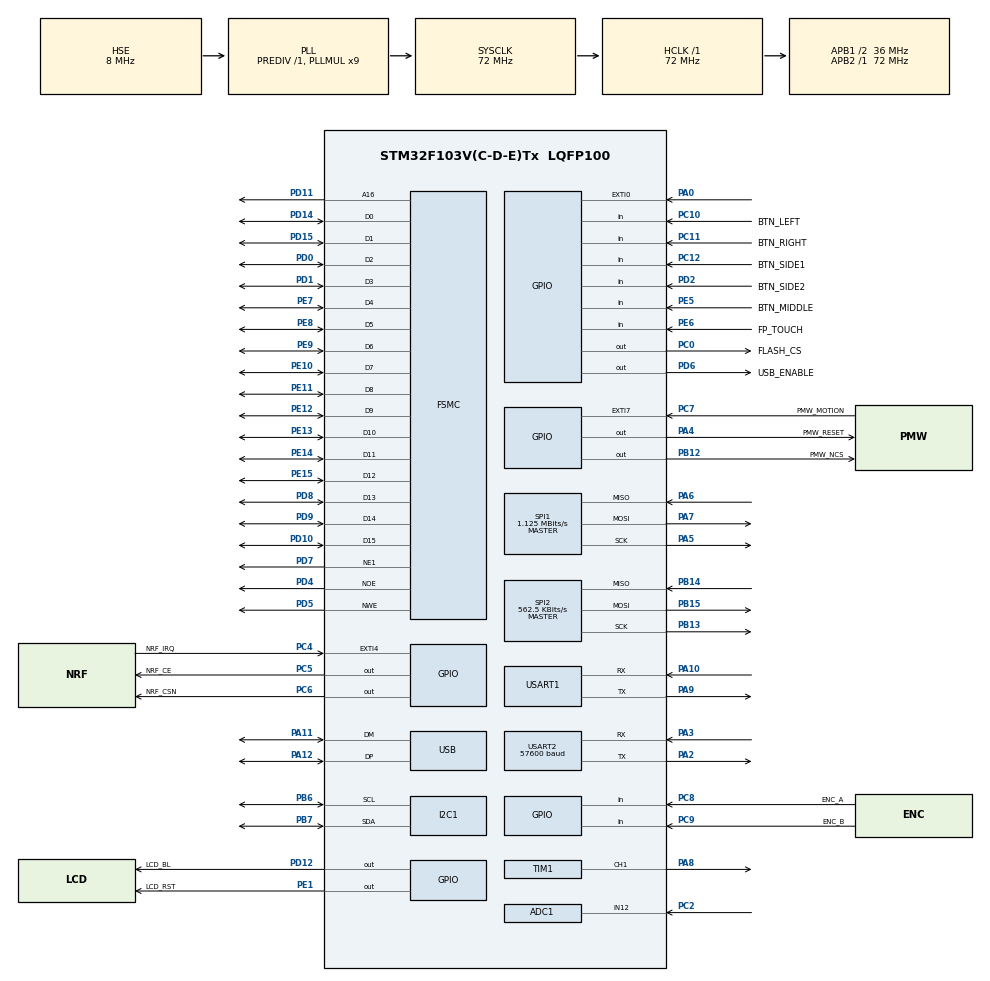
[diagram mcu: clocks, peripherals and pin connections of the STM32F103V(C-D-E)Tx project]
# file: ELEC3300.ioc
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ADC1.Channel-0\#ChannelRegularConversion=ADC_CHANNEL_12
ADC1.NbrOfConversionFlag=1
ADC1.Rank-0\#ChannelRegularConversion=1
ADC1.SamplingTime-0\#ChannelRegularConversion=ADC_SAMPLETIME_239CYCLES_5
ADC1.master=1
Dma.Request0=TIM1_CH1
Dma.TIM1_CH1.0.Direction=DMA_MEMORY_TO_PERIPH
Dma.TIM1_CH1.0.Instance=DMA1_Channel2
Dma.TIM1_CH1.0.MemDataAlignment=DMA_MDATAALIGN_HALFWORD
Dma.TIM1_CH1.0.MemInc=DMA_MINC_ENABLE
Dma.TIM1_CH1.0.Mode=DMA_NORMAL
Dma.TIM1_CH1.0.PeriphDataAlignment=DMA_PDATAALIGN_HALFWORD
Dma.TIM1_CH1.0.PeriphInc=DMA_PINC_DISABLE
Dma.TIM1_CH1.0.Priority=DMA_PRIORITY_HIGH
FREERTOS.Tasks01=defaultTask,16,640,StartDefaultTask,Default,NULL,Dynamic,NULL,NULL
FREERTOS.configTOTAL_HEAP_SIZE=16384
Mcu.Family=STM32F1
Mcu.Name=STM32F103V(C-D-E)Tx
Mcu.Package=LQFP100
NVIC.DMA1_Channel2_IRQn=true\:5\:0\:false\:false\:true\:true\:false\:true\:true
NVIC.EXTI0_IRQn=true\:5\:0\:false\:false\:true\:true\:true\:true\:true
NVIC.EXTI4_IRQn=true\:5\:0\:false\:false\:true\:true\:true\:true\:true
NVIC.EXTI9_5_IRQn=true\:5\:0\:false\:false\:true\:true\:true\:true\:true
NVIC.PriorityGroup=NVIC_PRIORITYGROUP_4
NVIC.TIM4_IRQn=true\:15\:0\:false\:false\:true\:false\:false\:true\:true
NVIC.TimeBase=TIM4_IRQn
NVIC.TimeBaseIP=TIM4
NVIC.USART1_IRQn=true\:5\:0\:false\:false\:true\:true\:true\:true\:true
NVIC.USART2_IRQn=true\:5\:0\:false\:false\:true\:true\:true\:true\:true
NVIC.USB_LP_CAN1_RX0_IRQn=true\:5\:0\:false\:false\:true\:false\:true\:true\:true
OSC_IN.Mode=HSE-External-Oscillator
OSC_IN.Signal=RCC_OSC_IN
OSC_OUT.Mode=HSE-External-Oscillator
OSC_OUT.Signal=RCC_OSC_OUT
PA0-WKUP.Signal=GPXTI0
PA10.Mode=Asynchronous
PA10.Signal=USART1_RX
PA11.Mode=Device
PA11.Signal=USB_DM
PA12.Mode=Device
PA12.Signal=USB_DP
PA13.Mode=Serial_Wire
PA13.Signal=SYS_JTMS-SWDIO
PA14.Mode=Serial_Wire
PA14.Signal=SYS_JTCK-SWCLK
PA2.Mode=Asynchronous
PA2.Signal=USART2_TX
PA3.Mode=Asynchronous
PA3.Signal=USART2_RX
PA4.GPIO_Label=PMW_RESET
PA4.PinState=GPIO_PIN_SET
PA4.Signal=GPIO_Output
PA5.Mode=Full_Duplex_Master
PA5.Signal=SPI1_SCK
PA6.Mode=Full_Duplex_Master
PA6.Signal=SPI1_MISO
PA7.Mode=Full_Duplex_Master
PA7.Signal=SPI1_MOSI
PA8.GPIO_Speed=GPIO_SPEED_FREQ_HIGH
PA8.Signal=S_TIM1_CH1
PA9.Mode=Asynchronous
PA9.Signal=USART1_TX
PB12.GPIO_Label=PMW_NCS
PB12.PinState=GPIO_PIN_SET
PB12.Signal=GPIO_Output
PB13.Mode=Full_Duplex_Master
PB13.Signal=SPI2_SCK
PB14.Mode=Full_Duplex_Master
PB14.Signal=SPI2_MISO
PB15.Mode=Full_Duplex_Master
PB15.Signal=SPI2_MOSI
PB6.Mode=I2C
PB6.Signal=I2C1_SCL
PB7.Mode=I2C
PB7.Signal=I2C1_SDA
PC0.GPIO_Label=FLASH_CS
PC0.PinState=GPIO_PIN_SET
PC0.Signal=GPIO_Output
PC10.GPIO_Label=BTN_LEFT
PC10.GPIO_PuPd=GPIO_PULLUP
PC10.Signal=GPIO_Input
PC11.GPIO_Label=BTN_RIGHT
PC11.GPIO_PuPd=GPIO_PULLUP
PC11.Signal=GPIO_Input
PC12.GPIO_Label=BTN_SIDE1
PC12.GPIO_PuPd=GPIO_PULLUP
PC12.Signal=GPIO_Input
PC2.Signal=ADCx_IN12
PC4.GPIO_Label=NRF_IRQ
PC4.GPIO_ModeDefaultEXTI=GPIO_MODE_IT_FALLING
PC4.GPIO_PuPd=GPIO_PULLUP
PC4.Signal=GPXTI4
PC5.GPIO_Label=NRF_CE
PC5.Signal=GPIO_Output
PC6.GPIO_Label=NRF_CSN
PC6.PinState=GPIO_PIN_SET
PC6.Signal=GPIO_Output
PC7.GPIO_Label=PMW_MOTION
PC7.GPIO_ModeDefaultEXTI=GPIO_MODE_IT_FALLING
PC7.GPIO_PuPd=GPIO_PULLUP
PC7.Signal=GPXTI7
PC8.GPIO_Label=ENC_A
PC8.GPIO_PuPd=GPIO_PULLUP
PC8.Signal=GPIO_Input
PC9.GPIO_Label=ENC_B
PC9.GPIO_PuPd=GPIO_PULLUP
PC9.Signal=GPIO_Input
PD0.Mode=16b-d1
PD0.Signal=FSMC_D2
PD1.Mode=16b-d1
PD1.Signal=FSMC_D3
PD10.Mode=16b-d1
PD10.Signal=FSMC_D15
PD11.Mode=A16_1
PD11.Signal=FSMC_A16
PD12.GPIO_Label=LCD_BL
PD12.GPIO_Speed=GPIO_SPEED_FREQ_HIGH
PD12.PinState=GPIO_PIN_SET
PD12.Signal=GPIO_Output
PD14.Mode=16b-d1
PD14.Signal=FSMC_D0
PD15.Mode=16b-d1
PD15.Signal=FSMC_D1
PD2.GPIO_Label=BTN_SIDE2
PD2.GPIO_PuPd=GPIO_PULLUP
PD2.Signal=GPIO_Input
PD4.Mode=Lcd1
PD4.Signal=FSMC_NOE
PD5.Mode=Lcd1
PD5.Signal=FSMC_NWE
PD6.GPIO_Label=USB_ENABLE
PD6.PinState=GPIO_PIN_SET
PD6.Signal=GPIO_Output
PD7.Mode=NorPsramChipSelect1_1
PD7.Signal=FSMC_NE1
PD8.Mode=16b-d1
PD8.Signal=FSMC_D13
PD9.Mode=16b-d1
PD9.Signal=FSMC_D14
PE1.GPIO_Label=LCD_RST
PE1.GPIO_Speed=GPIO_SPEED_FREQ_HIGH
PE1.PinState=GPIO_PIN_RESET
PE1.Signal=GPIO_Output
PE10.Mode=16b-d1
PE10.Signal=FSMC_D7
PE11.Mode=16b-d1
PE11.Signal=FSMC_D8
PE12.Mode=16b-d1
PE12.Signal=FSMC_D9
PE13.Mode=16b-d1
PE13.Signal=FSMC_D10
PE14.Mode=16b-d1
PE14.Signal=FSMC_D11
PE15.Mode=16b-d1
PE15.Signal=FSMC_D12
PE5.GPIO_Label=BTN_MIDDLE
PE5.GPIO_PuPd=GPIO_PULLUP
PE5.Signal=GPIO_Input
PE6.GPIO_Label=FP_TOUCH
PE6.Signal=GPIO_Input
PE7.Mode=16b-d1
PE7.Signal=FSMC_D4
PE8.Mode=16b-d1
PE8.Signal=FSMC_D5
PE9.Mode=16b-d1
PE9.Signal=FSMC_D6
ProjectManager.HeapSize=0x200
ProjectManager.StackSize=0x400
ProjectManager.TargetToolchain=CMake
RCC.ADCPresc=RCC_ADCPCLK2_DIV6
RCC.AHBFreq_Value=72000000
RCC.APB1CLKDivider=RCC_HCLK_DIV2
RCC.APB1Freq_Value=36000000
RCC.APB1TimFreq_Value=72000000
RCC.APB2Freq_Value=72000000
RCC.APB2TimFreq_Value=72000000
RCC.HCLKFreq_Value=72000000
RCC.PLLMUL=RCC_PLL_MUL9
RCC.PLLSourceVirtual=RCC_PLLSOURCE_HSE
RCC.SYSCLKFreq_VALUE=72000000
RCC.SYSCLKSource=RCC_SYSCLKSOURCE_PLLCLK
RCC.USBFreq_Value=48000000
RCC.USBPrescaler=RCC_USBCLKSOURCE_PLL_DIV1_5
SH.ADCx_IN12.0=ADC1_IN12,IN12
SH.S_TIM1_CH1.0=TIM1_CH1,PWM Generation1 CH1
SPI1.BaudRatePrescaler=SPI_BAUDRATEPRESCALER_64
SPI1.CalculateBaudRate=1.125 MBits/s
SPI1.Direction=SPI_DIRECTION_2LINES
SPI1.Mode=SPI_MODE_MASTER
SPI1.VirtualType=VM_MASTER
SPI2.BaudRatePrescaler=SPI_BAUDRATEPRESCALER_64
SPI2.CLKPhase=SPI_PHASE_2EDGE
SPI2.CLKPolarity=SPI_POLARITY_HIGH
SPI2.CalculateBaudRate=562.5 KBits/s
SPI2.Direction=SPI_DIRECTION_2LINES
SPI2.Mode=SPI_MODE_MASTER
SPI2.VirtualType=VM_MASTER
TIM1.Channel-PWM\ Generation1\ CH1=TIM_CHANNEL_1
TIM1.Period=89
USART1.VirtualMode=VM_ASYNC
USART2.BaudRate=57600
USART2.VirtualMode=VM_ASYNC
USB_DEVICE.CLASS_NAME_FS=HID
USB_DEVICE.VirtualMode=Hid
USB_DEVICE.VirtualModeFS=Hid_FS
VP_FREERTOS_VS_CMSIS_V2.Mode=CMSIS_V2
VP_SYS_VS_tim4.Mode=TIM4
VP_TIM1_VS_ClockSourceINT.Mode=Internal
VP_USB_DEVICE_VS_USB_DEVICE_HID_FS.Mode=HID_FS
board=custom

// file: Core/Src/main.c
/* USER CODE BEGIN Header */
/**
  ******************************************************************************
  * @file           : main.c
  * @brief          : Main program body
  ******************************************************************************
  * @attention
  *
  * Copyright (c) 2026 STMicroelectronics.
  * All rights reserved.
  *
  * This software is licensed under terms that can be found in the LICENSE file
  * in the root directory of this software component.
  * If no LICENSE file comes with this software, it is provided AS-IS.
  *
  ******************************************************************************
  */
/* USER CODE END Header */
#include "main.h"
#include "cmsis_os.h"
#include "usb_device.h"

/* USER CODE BEGIN Includes */
#ifdef LCD_FOR_DEBUG
#include "lcd.h"
#endif
#include "mouse_app.h"
#include "zw3020.h"
#include "battery_monitor.h"
#include "nrf_motion.h"
#include "boot_epoch.h"
#include "ws2812b.h"
#include "ws2812b_task.h"
#include "console_uart.h"
/* USER CODE END Includes */

ADC_HandleTypeDef hadc1;

I2C_HandleTypeDef hi2c1;

SPI_HandleTypeDef hspi1;
SPI_HandleTypeDef hspi2;

TIM_HandleTypeDef htim1;
DMA_HandleTypeDef hdma_tim1_ch1;

UART_HandleTypeDef huart1;
UART_HandleTypeDef huart2;

SRAM_HandleTypeDef hsram1;

/* Definitions for defaultTask */
osThreadId_t defaultTaskHandle;
const osThreadAttr_t defaultTask_attributes = {
  .name = "defaultTask",
  .stack_size = 640 * 4,
  .priority = (osPriority_t) osPriorityBelowNormal,
};

void SystemClock_Config(void);
static void MX_GPIO_Init(void);
static void MX_DMA_Init(void);
static void MX_I2C1_Init(void);
static void MX_SPI1_Init(void);
static void MX_SPI2_Init(void);
static void MX_USART1_UART_Init(void);
static void MX_USART2_UART_Init(void);
static void MX_FSMC_Init(void);
static void MX_TIM1_Init(void);
static void MX_ADC1_Init(void);
void StartDefaultTask(void *argument);

int main(void)
{

  /* MCU Configuration--------------------------------------------------------*/

  /* Reset of all peripherals, Initializes the Flash interface and the Systick. */
  HAL_Init();

  /* Configure the system clock */
  SystemClock_Config();

  /* Initialize all configured peripherals */
  MX_GPIO_Init();
  MX_DMA_Init();
  MX_I2C1_Init();
  MX_SPI1_Init();
  MX_SPI2_Init();
  MX_USART1_UART_Init();
  MX_USART2_UART_Init();
  MX_FSMC_Init();
  MX_TIM1_Init();
  MX_ADC1_Init();
  /* USER CODE BEGIN 2 */
#ifdef LCD_FOR_DEBUG
  LCD_INIT();
  LCD_DrawString(0, 0, "Starting mouse sensors...");
#endif
  if (!BatteryMonitor_Init(&hadc1))
  {
#ifdef LCD_FOR_DEBUG
    LCD_DrawString(0, 60, "Battery ADC calibration failed");
#endif
  }
  if (BootEpoch_Reserve())
    (void)NrfMotion_Init(&hspi1, NRF_MOTION_TX);
  /* USER CODE END 2 */

  /* Init scheduler */
  osKernelInitialize();

  /* Create the thread(s) */
  /* creation of defaultTask */
  defaultTaskHandle = osThreadNew(StartDefaultTask, NULL, &defaultTask_attributes);

  /* USER CODE BEGIN RTOS_THREADS */
  if (defaultTaskHandle == NULL || !MouseApp_Init(&hspi2, &huart2, &huart1, &hi2c1))
  {
#ifdef LCD_FOR_DEBUG
    LCD_DrawString(0, 20, "RTOS/sensor startup failed");
#endif
    Error_Handler();
  }
  if (!WS2812B_TaskStart(&htim1))
  {
#ifdef LCD_FOR_DEBUG
    LCD_DrawString(0, 40, "LED task/config startup failed");
#endif
    Error_Handler();
  }
  /* USER CODE END RTOS_THREADS */

  /* Start scheduler */
  osKernelStart();

  /* We should never get here as control is now taken by the scheduler */

  /* Infinite loop */
  while (1)
  {

  }
}

void SystemClock_Config(void)
{
  RCC_OscInitTypeDef RCC_OscInitStruct = {0};
  RCC_ClkInitTypeDef RCC_ClkInitStruct = {0};
  RCC_PeriphCLKInitTypeDef PeriphClkInit = {0};

  /** Initializes the RCC Oscillators according to the specified parameters
  * in the RCC_OscInitTypeDef structure.
  */
  RCC_OscInitStruct.OscillatorType = RCC_OSCILLATORTYPE_HSE;
  RCC_OscInitStruct.HSEState = RCC_HSE_ON;
  RCC_OscInitStruct.HSEPredivValue = RCC_HSE_PREDIV_DIV1;
  RCC_OscInitStruct.HSIState = RCC_HSI_ON;
  RCC_OscInitStruct.PLL.PLLState = RCC_PLL_ON;
  RCC_OscInitStruct.PLL.PLLSource = RCC_PLLSOURCE_HSE;
  RCC_OscInitStruct.PLL.PLLMUL = RCC_PLL_MUL9;
  if (HAL_RCC_OscConfig(&RCC_OscInitStruct) != HAL_OK)
  {
    Error_Handler();
  }

  /** Initializes the CPU, AHB and APB buses clocks
  */
  RCC_ClkInitStruct.ClockType = RCC_CLOCKTYPE_HCLK|RCC_CLOCKTYPE_SYSCLK
                              |RCC_CLOCKTYPE_PCLK1|RCC_CLOCKTYPE_PCLK2;
  RCC_ClkInitStruct.SYSCLKSource = RCC_SYSCLKSOURCE_PLLCLK;
  RCC_ClkInitStruct.AHBCLKDivider = RCC_SYSCLK_DIV1;
  RCC_ClkInitStruct.APB1CLKDivider = RCC_HCLK_DIV2;
  RCC_ClkInitStruct.APB2CLKDivider = RCC_HCLK_DIV1;

  if (HAL_RCC_ClockConfig(&RCC_ClkInitStruct, FLASH_LATENCY_2) != HAL_OK)
  {
    Error_Handler();
  }
  PeriphClkInit.PeriphClockSelection = RCC_PERIPHCLK_ADC|RCC_PERIPHCLK_USB;
  PeriphClkInit.AdcClockSelection = RCC_ADCPCLK2_DIV6;
  PeriphClkInit.UsbClockSelection = RCC_USBCLKSOURCE_PLL_DIV1_5;
  if (HAL_RCCEx_PeriphCLKConfig(&PeriphClkInit) != HAL_OK)
  {
    Error_Handler();
  }
}

static void MX_ADC1_Init(void)
{

  ADC_ChannelConfTypeDef sConfig = {0};

  /** Common config
  */
  hadc1.Instance = ADC1;
  hadc1.Init.ScanConvMode = ADC_SCAN_DISABLE;
  hadc1.Init.ContinuousConvMode = DISABLE;
  hadc1.Init.DiscontinuousConvMode = DISABLE;
  hadc1.Init.ExternalTrigConv = ADC_SOFTWARE_START;
  hadc1.Init.DataAlign = ADC_DATAALIGN_RIGHT;
  hadc1.Init.NbrOfConversion = 1;
  if (HAL_ADC_Init(&hadc1) != HAL_OK)
  {
    Error_Handler();
  }

  /** Configure Regular Channel
  */
  sConfig.Channel = ADC_CHANNEL_12;
  sConfig.Rank = ADC_REGULAR_RANK_1;
  sConfig.SamplingTime = ADC_SAMPLETIME_239CYCLES_5;
  if (HAL_ADC_ConfigChannel(&hadc1, &sConfig) != HAL_OK)
  {
    Error_Handler();
  }

}

static void MX_I2C1_Init(void)
{

  hi2c1.Instance = I2C1;
  hi2c1.Init.ClockSpeed = 100000;
  hi2c1.Init.DutyCycle = I2C_DUTYCYCLE_2;
  hi2c1.Init.OwnAddress1 = 0;
  hi2c1.Init.AddressingMode = I2C_ADDRESSINGMODE_7BIT;
  hi2c1.Init.DualAddressMode = I2C_DUALADDRESS_DISABLE;
  hi2c1.Init.OwnAddress2 = 0;
  hi2c1.Init.GeneralCallMode = I2C_GENERALCALL_DISABLE;
  hi2c1.Init.NoStretchMode = I2C_NOSTRETCH_DISABLE;
  if (HAL_I2C_Init(&hi2c1) != HAL_OK)
  {
    Error_Handler();
  }

}

static void MX_SPI1_Init(void)
{

  /* SPI1 parameter configuration*/
  hspi1.Instance = SPI1;
  hspi1.Init.Mode = SPI_MODE_MASTER;
  hspi1.Init.Direction = SPI_DIRECTION_2LINES;
  hspi1.Init.DataSize = SPI_DATASIZE_8BIT;
  hspi1.Init.CLKPolarity = SPI_POLARITY_LOW;
  hspi1.Init.CLKPhase = SPI_PHASE_1EDGE;
  hspi1.Init.NSS = SPI_NSS_SOFT;
  hspi1.Init.BaudRatePrescaler = SPI_BAUDRATEPRESCALER_64;
  hspi1.Init.FirstBit = SPI_FIRSTBIT_MSB;
  hspi1.Init.TIMode = SPI_TIMODE_DISABLE;
  hspi1.Init.CRCCalculation = SPI_CRCCALCULATION_DISABLE;
  hspi1.Init.CRCPolynomial = 10;
  if (HAL_SPI_Init(&hspi1) != HAL_OK)
  {
    Error_Handler();
  }

}

static void MX_SPI2_Init(void)
{

  /* SPI2 parameter configuration*/
  hspi2.Instance = SPI2;
  hspi2.Init.Mode = SPI_MODE_MASTER;
  hspi2.Init.Direction = SPI_DIRECTION_2LINES;
  hspi2.Init.DataSize = SPI_DATASIZE_8BIT;
  hspi2.Init.CLKPolarity = SPI_POLARITY_HIGH;
  hspi2.Init.CLKPhase = SPI_PHASE_2EDGE;
  hspi2.Init.NSS = SPI_NSS_SOFT;
  hspi2.Init.BaudRatePrescaler = SPI_BAUDRATEPRESCALER_64;
  hspi2.Init.FirstBit = SPI_FIRSTBIT_MSB;
  hspi2.Init.TIMode = SPI_TIMODE_DISABLE;
  hspi2.Init.CRCCalculation = SPI_CRCCALCULATION_DISABLE;
  hspi2.Init.CRCPolynomial = 10;
  if (HAL_SPI_Init(&hspi2) != HAL_OK)
  {
    Error_Handler();
  }

}

static void MX_TIM1_Init(void)
{

  TIM_ClockConfigTypeDef sClockSourceConfig = {0};
  TIM_MasterConfigTypeDef sMasterConfig = {0};
  TIM_OC_InitTypeDef sConfigOC = {0};
  TIM_BreakDeadTimeConfigTypeDef sBreakDeadTimeConfig = {0};

  htim1.Instance = TIM1;
  htim1.Init.Prescaler = 0;
  htim1.Init.CounterMode = TIM_COUNTERMODE_UP;
  htim1.Init.Period = 89;
  htim1.Init.ClockDivision = TIM_CLOCKDIVISION_DIV1;
  htim1.Init.RepetitionCounter = 0;
  htim1.Init.AutoReloadPreload = TIM_AUTORELOAD_PRELOAD_DISABLE;
  if (HAL_TIM_Base_Init(&htim1) != HAL_OK)
  {
    Error_Handler();
  }
  sClockSourceConfig.ClockSource = TIM_CLOCKSOURCE_INTERNAL;
  if (HAL_TIM_ConfigClockSource(&htim1, &sClockSourceConfig) != HAL_OK)
  {
    Error_Handler();
  }
  if (HAL_TIM_PWM_Init(&htim1) != HAL_OK)
  {
    Error_Handler();
  }
  sMasterConfig.MasterOutputTrigger = TIM_TRGO_RESET;
  sMasterConfig.MasterSlaveMode = TIM_MASTERSLAVEMODE_DISABLE;
  if (HAL_TIMEx_MasterConfigSynchronization(&htim1, &sMasterConfig) != HAL_OK)
  {
    Error_Handler();
  }
  sConfigOC.OCMode = TIM_OCMODE_PWM1;
  sConfigOC.Pulse = 0;
  sConfigOC.OCPolarity = TIM_OCPOLARITY_HIGH;
  sConfigOC.OCNPolarity = TIM_OCNPOLARITY_HIGH;
  sConfigOC.OCFastMode = TIM_OCFAST_DISABLE;
  sConfigOC.OCIdleState = TIM_OCIDLESTATE_RESET;
  sConfigOC.OCNIdleState = TIM_OCNIDLESTATE_RESET;
  if (HAL_TIM_PWM_ConfigChannel(&htim1, &sConfigOC, TIM_CHANNEL_1) != HAL_OK)
  {
    Error_Handler();
  }
  sBreakDeadTimeConfig.OffStateRunMode = TIM_OSSR_DISABLE;
  sBreakDeadTimeConfig.OffStateIDLEMode = TIM_OSSI_DISABLE;
  sBreakDeadTimeConfig.LockLevel = TIM_LOCKLEVEL_OFF;
  sBreakDeadTimeConfig.DeadTime = 0;
  sBreakDeadTimeConfig.BreakState = TIM_BREAK_DISABLE;
  sBreakDeadTimeConfig.BreakPolarity = TIM_BREAKPOLARITY_HIGH;
  sBreakDeadTimeConfig.AutomaticOutput = TIM_AUTOMATICOUTPUT_DISABLE;
  if (HAL_TIMEx_ConfigBreakDeadTime(&htim1, &sBreakDeadTimeConfig) != HAL_OK)
  {
    Error_Handler();
  }
  HAL_TIM_MspPostInit(&htim1);

}

static void MX_USART1_UART_Init(void)
{

  huart1.Instance = USART1;
  huart1.Init.BaudRate = 115200;
  huart1.Init.WordLength = UART_WORDLENGTH_8B;
  huart1.Init.StopBits = UART_STOPBITS_1;
  huart1.Init.Parity = UART_PARITY_NONE;
  huart1.Init.Mode = UART_MODE_TX_RX;
  huart1.Init.HwFlowCtl = UART_HWCONTROL_NONE;
  huart1.Init.OverSampling = UART_OVERSAMPLING_16;
  if (HAL_UART_Init(&huart1) != HAL_OK)
  {
    Error_Handler();
  }

}

static void MX_USART2_UART_Init(void)
{

  huart2.Instance = USART2;
  huart2.Init.BaudRate = 57600;
  huart2.Init.WordLength = UART_WORDLENGTH_8B;
  huart2.Init.StopBits = UART_STOPBITS_1;
  huart2.Init.Parity = UART_PARITY_NONE;
  huart2.Init.Mode = UART_MODE_TX_RX;
  huart2.Init.HwFlowCtl = UART_HWCONTROL_NONE;
  huart2.Init.OverSampling = UART_OVERSAMPLING_16;
  if (HAL_UART_Init(&huart2) != HAL_OK)
  {
    Error_Handler();
  }

}

static void MX_DMA_Init(void)
{

  /* DMA controller clock enable */
  __HAL_RCC_DMA1_CLK_ENABLE();

  /* DMA interrupt init */
  /* DMA1_Channel2_IRQn interrupt configuration */
  HAL_NVIC_SetPriority(DMA1_Channel2_IRQn, 5, 0);
  HAL_NVIC_EnableIRQ(DMA1_Channel2_IRQn);

}

static void MX_GPIO_Init(void)
{
  GPIO_InitTypeDef GPIO_InitStruct = {0};

  /* GPIO Ports Clock Enable */
  __HAL_RCC_GPIOE_CLK_ENABLE();
  __HAL_RCC_GPIOC_CLK_ENABLE();
  __HAL_RCC_GPIOA_CLK_ENABLE();
  __HAL_RCC_GPIOB_CLK_ENABLE();
  __HAL_RCC_GPIOD_CLK_ENABLE();

  /*Configure GPIO pin Output Level */
  HAL_GPIO_WritePin(GPIOC, FLASH_CS_Pin|NRF_CSN_Pin, GPIO_PIN_SET);

  /*Configure GPIO pin Output Level */
  HAL_GPIO_WritePin(PMW_RESET_GPIO_Port, PMW_RESET_Pin, GPIO_PIN_SET);

  /*Configure GPIO pin Output Level */
  HAL_GPIO_WritePin(NRF_CE_GPIO_Port, NRF_CE_Pin, GPIO_PIN_RESET);

  /*Configure GPIO pin Output Level */
  HAL_GPIO_WritePin(PMW_NCS_GPIO_Port, PMW_NCS_Pin, GPIO_PIN_SET);

  /*Configure GPIO pin Output Level */
  HAL_GPIO_WritePin(LCD_BL_GPIO_Port, LCD_BL_Pin, GPIO_PIN_SET);

  /*Configure GPIO pin Output Level */
  HAL_GPIO_WritePin(USB_ENABLE_GPIO_Port, USB_ENABLE_Pin, GPIO_PIN_SET);

  /*Configure GPIO pin Output Level */
  HAL_GPIO_WritePin(LCD_RST_GPIO_Port, LCD_RST_Pin, GPIO_PIN_RESET);

  /*Configure GPIO pin : BTN_MIDDLE_Pin */
  GPIO_InitStruct.Pin = BTN_MIDDLE_Pin;
  GPIO_InitStruct.Mode = GPIO_MODE_INPUT;
  GPIO_InitStruct.Pull = GPIO_PULLUP;
  HAL_GPIO_Init(BTN_MIDDLE_GPIO_Port, &GPIO_InitStruct);

  /*Configure GPIO pin : FP_TOUCH_Pin */
  GPIO_InitStruct.Pin = FP_TOUCH_Pin;
  GPIO_InitStruct.Mode = GPIO_MODE_INPUT;
  GPIO_InitStruct.Pull = GPIO_NOPULL;
  HAL_GPIO_Init(FP_TOUCH_GPIO_Port, &GPIO_InitStruct);

  /*Configure GPIO pins : FLASH_CS_Pin NRF_CE_Pin NRF_CSN_Pin */
  GPIO_InitStruct.Pin = FLASH_CS_Pin|NRF_CE_Pin|NRF_CSN_Pin;
  GPIO_InitStruct.Mode = GPIO_MODE_OUTPUT_PP;
  GPIO_InitStruct.Pull = GPIO_NOPULL;
  GPIO_InitStruct.Speed = GPIO_SPEED_FREQ_LOW;
  HAL_GPIO_Init(GPIOC, &GPIO_InitStruct);

  /*Configure GPIO pin : PA0 */
  GPIO_InitStruct.Pin = GPIO_PIN_0;
  GPIO_InitStruct.Mode = GPIO_MODE_IT_RISING;
  GPIO_InitStruct.Pull = GPIO_NOPULL;
  HAL_GPIO_Init(GPIOA, &GPIO_InitStruct);

  /*Configure GPIO pin : PMW_RESET_Pin */
  GPIO_InitStruct.Pin = PMW_RESET_Pin;
  GPIO_InitStruct.Mode = GPIO_MODE_OUTPUT_PP;
  GPIO_InitStruct.Pull = GPIO_NOPULL;
  GPIO_InitStruct.Speed = GPIO_SPEED_FREQ_LOW;
  HAL_GPIO_Init(PMW_RESET_GPIO_Port, &GPIO_InitStruct);

  /*Configure GPIO pins : NRF_IRQ_Pin PMW_MOTION_Pin */
  GPIO_InitStruct.Pin = NRF_IRQ_Pin|PMW_MOTION_Pin;
  GPIO_InitStruct.Mode = GPIO_MODE_IT_FALLING;
  GPIO_InitStruct.Pull = GPIO_PULLUP;
  HAL_GPIO_Init(GPIOC, &GPIO_InitStruct);

  /*Configure GPIO pin : PMW_NCS_Pin */
  GPIO_InitStruct.Pin = PMW_NCS_Pin;
  GPIO_InitStruct.Mode = GPIO_MODE_OUTPUT_PP;
  GPIO_InitStruct.Pull = GPIO_NOPULL;
  GPIO_InitStruct.Speed = GPIO_SPEED_FREQ_LOW;
  HAL_GPIO_Init(PMW_NCS_GPIO_Port, &GPIO_InitStruct);

  /*Configure GPIO pin : LCD_BL_Pin */
  GPIO_InitStruct.Pin = LCD_BL_Pin;
  GPIO_InitStruct.Mode = GPIO_MODE_OUTPUT_PP;
  GPIO_InitStruct.Pull = GPIO_NOPULL;
  GPIO_InitStruct.Speed = GPIO_SPEED_FREQ_HIGH;
  HAL_GPIO_Init(LCD_BL_GPIO_Port, &GPIO_InitStruct);

  /*Configure GPIO pins : ENC_A_Pin ENC_B_Pin BTN_LEFT_Pin BTN_RIGHT_Pin
                           BTN_SIDE1_Pin */
  GPIO_InitStruct.Pin = ENC_A_Pin|ENC_B_Pin|BTN_LEFT_Pin|BTN_RIGHT_Pin
                          |BTN_SIDE1_Pin;
  GPIO_InitStruct.Mode = GPIO_MODE_INPUT;
  GPIO_InitStruct.Pull = GPIO_PULLUP;
  HAL_GPIO_Init(GPIOC, &GPIO_InitStruct);

  /*Configure GPIO pin : BTN_SIDE2_Pin */
  GPIO_InitStruct.Pin = BTN_SIDE2_Pin;
  GPIO_InitStruct.Mode = GPIO_MODE_INPUT;
  GPIO_InitStruct.Pull = GPIO_PULLUP;
  HAL_GPIO_Init(BTN_SIDE2_GPIO_Port, &GPIO_InitStruct);

  /*Configure GPIO pin : USB_ENABLE_Pin */
  GPIO_InitStruct.Pin = USB_ENABLE_Pin;
  GPIO_InitStruct.Mode = GPIO_MODE_OUTPUT_PP;
  GPIO_InitStruct.Pull = GPIO_NOPULL;
  GPIO_InitStruct.Speed = GPIO_SPEED_FREQ_LOW;
  HAL_GPIO_Init(USB_ENABLE_GPIO_Port, &GPIO_InitStruct);

  /*Configure GPIO pin : LCD_RST_Pin */
  GPIO_InitStruct.Pin = LCD_RST_Pin;
  GPIO_InitStruct.Mode = GPIO_MODE_OUTPUT_PP;
  GPIO_InitStruct.Pull = GPIO_NOPULL;
  GPIO_InitStruct.Speed = GPIO_SPEED_FREQ_HIGH;
  HAL_GPIO_Init(LCD_RST_GPIO_Port, &GPIO_InitStruct);

  /* EXTI interrupt init*/
  HAL_NVIC_SetPriority(EXTI0_IRQn, 5, 0);
  HAL_NVIC_EnableIRQ(EXTI0_IRQn);

  HAL_NVIC_SetPriority(EXTI4_IRQn, 5, 0);
  HAL_NVIC_EnableIRQ(EXTI4_IRQn);

  HAL_NVIC_SetPriority(EXTI9_5_IRQn, 5, 0);
  HAL_NVIC_EnableIRQ(EXTI9_5_IRQn);

}

/* FSMC initialization function */
static void MX_FSMC_Init(void)
{

  /* USER CODE BEGIN FSMC_Init 0 */
#ifdef LCD_FOR_DEBUG
  /* USER CODE END FSMC_Init 0 */

  FSMC_NORSRAM_TimingTypeDef Timing = {0};

  /** Perform the SRAM1 memory initialization sequence
  */
  hsram1.Instance = FSMC_NORSRAM_DEVICE;
  hsram1.Extended = FSMC_NORSRAM_EXTENDED_DEVICE;
  /* hsram1.Init */
  hsram1.Init.NSBank = FSMC_NORSRAM_BANK1;
  hsram1.Init.DataAddressMux = FSMC_DATA_ADDRESS_MUX_DISABLE;
  hsram1.Init.MemoryType = FSMC_MEMORY_TYPE_SRAM;
  hsram1.Init.MemoryDataWidth = FSMC_NORSRAM_MEM_BUS_WIDTH_16;
  hsram1.Init.BurstAccessMode = FSMC_BURST_ACCESS_MODE_DISABLE;
  hsram1.Init.WaitSignalPolarity = FSMC_WAIT_SIGNAL_POLARITY_LOW;
  hsram1.Init.WrapMode = FSMC_WRAP_MODE_DISABLE;
  hsram1.Init.WaitSignalActive = FSMC_WAIT_TIMING_BEFORE_WS;
  hsram1.Init.WriteOperation = FSMC_WRITE_OPERATION_ENABLE;
  hsram1.Init.WaitSignal = FSMC_WAIT_SIGNAL_DISABLE;
  hsram1.Init.ExtendedMode = FSMC_EXTENDED_MODE_DISABLE;
  hsram1.Init.AsynchronousWait = FSMC_ASYNCHRONOUS_WAIT_DISABLE;
  hsram1.Init.WriteBurst = FSMC_WRITE_BURST_DISABLE;
  /* Timing */
  Timing.AddressSetupTime = 15;
  Timing.AddressHoldTime = 15;
  Timing.DataSetupTime = 255;
  Timing.BusTurnAroundDuration = 15;
  Timing.CLKDivision = 16;
  Timing.DataLatency = 17;
  Timing.AccessMode = FSMC_ACCESS_MODE_A;
  /* ExtTiming */

  if (HAL_SRAM_Init(&hsram1, &Timing, NULL) != HAL_OK)
  {
    Error_Handler( );
  }

  /** Disconnect NADV
  */

  __HAL_AFIO_FSMCNADV_DISCONNECTED();

  /* USER CODE BEGIN FSMC_Init 2 */
#endif
  /* USER CODE END FSMC_Init 2 */
}

/* USER CODE BEGIN 4 */
void HAL_UART_RxCpltCallback(UART_HandleTypeDef *uart)
{
  Zw3020_OnRxComplete(uart);
  Console_OnRxComplete(uart);
}

void HAL_UART_ErrorCallback(UART_HandleTypeDef *uart)
{
  Zw3020_OnUartError(uart);
  Console_OnError(uart);
}

void HAL_UART_TxCpltCallback(UART_HandleTypeDef *uart)
{
  Console_OnTxComplete(uart);
}

void HAL_TIM_PWM_PulseFinishedCallback(TIM_HandleTypeDef *timer)
{
  WS2812B_OnPulseFinished(timer);
}

void HAL_TIM_ErrorCallback(TIM_HandleTypeDef *timer)
{
  WS2812B_OnTimerError(timer);
}
/* USER CODE END 4 */

void StartDefaultTask(void *argument)
{
  /* init code for USB_DEVICE */
  MX_USB_DEVICE_Init();
  /* USER CODE BEGIN 5 */
  (void)argument;
  MouseApp_RunDisplay();
  /* USER CODE END 5 */
}

void HAL_TIM_PeriodElapsedCallback(TIM_HandleTypeDef *htim)
{
  if (htim->Instance == TIM4)
  {
    HAL_IncTick();
  }
  /* USER CODE BEGIN Callback 1 */
  if (htim->Instance == TIM4)
  {
    MouseApp_SampleInputs1ms();
  }
  /* USER CODE END Callback 1 */
}

void Error_Handler(void)
{
  __disable_irq();
  while (1)
  {
  }
}
